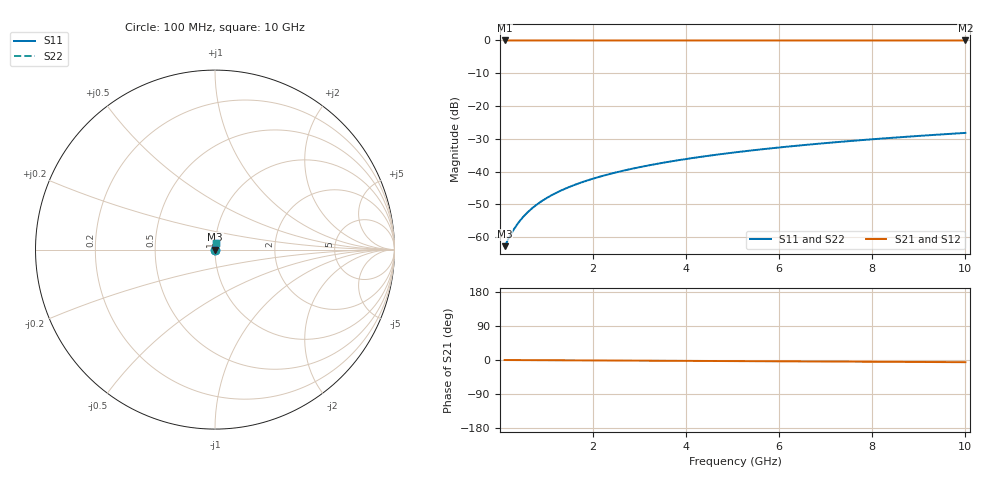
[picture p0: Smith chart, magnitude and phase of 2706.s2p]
# Hz S RI R 50.00
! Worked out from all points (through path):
!   100 points, 100 MHz to 10 GHz, reference 50 ohm
!   highest |S21| = -0.01 dB at 100 MHz (marker M1); lowest = 0.0 dB at 10 GHz (marker M2)
!   lowest |S11| = -62.8 dB at 100 MHz (marker M3), VSWR 1.00, Z = 50.1 + j0.0388 ohm
!   |S11| at or under -10 dB: start of sweep to end of sweep
!   |S22| runs from -62.8 to -28.2 dB; largest |S21 - S12| = 0
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1e8  0.000615 0.000387  0.9994 -0.001  0.9994 -0.001  0.000615 0.000387
2e8  0.00062 0.000774  0.9994 -0.00201  0.9994 -0.00201  0.00062 0.000774
3e8  0.000624 0.00116  0.9994 -0.00301  0.9994 -0.00301  0.000624 0.00116
4e8  0.000629 0.00155  0.9994 -0.00402  0.9994 -0.00402  0.000629 0.00155
5e8  0.000635 0.00194  0.9994 -0.00502  0.9994 -0.00502  0.000635 0.00194
6e8  0.000641 0.00232  0.9993 -0.00602  0.9993 -0.00602  0.000641 0.00232
7e8  0.000647 0.00271  0.9993 -0.00703  0.9993 -0.00703  0.000647 0.00271
9e8  0.000662 0.00348  0.9993 -0.00904  0.9993 -0.00904  0.000662 0.00348
1e9  0.00067 0.00387  0.9993 -0.01  0.9993 -0.01  0.00067 0.00387
1.2e9  0.000689 0.00465  0.9993 -0.012  0.9993 -0.012  0.000689 0.00465
1.5e9  0.000724 0.00581  0.9992 -0.0151  0.9992 -0.0151  0.000724 0.00581
1.8e9  0.000764 0.00697  0.9992 -0.0181  0.9992 -0.0181  0.000764 0.00697
2.1e9  0.000812 0.00813  0.9991 -0.0211  0.9991 -0.0211  0.000812 0.00813
2.5e9  0.000886 0.00967  0.999 -0.0251  0.999 -0.0251  0.000886 0.00967
2.9e9  0.000972 0.0112  0.9989 -0.0291  0.9989 -0.0291  0.000972 0.0112
3.4e9  0.0011 0.0132  0.9987 -0.0341  0.9987 -0.0341  0.0011 0.0132
4.2e9  0.00134 0.0162  0.9983 -0.0422  0.9983 -0.0422  0.00134 0.0162
5.1e9  0.00167 0.0197  0.9978 -0.0512  0.9978 -0.0512  0.00167 0.0197
5.9e9  0.00201 0.0228  0.9973 -0.0593  0.9973 -0.0593  0.00201 0.0228
6.7e9  0.00241 0.0259  0.9967 -0.0673  0.9967 -0.0673  0.00241 0.0259
8.4e9  0.00342 0.0324  0.9952 -0.0844  0.9952 -0.0844  0.00342 0.0324
1e10  0.00458 0.0386  0.9934 -0.1005  0.9934 -0.1005  0.00458 0.0386
